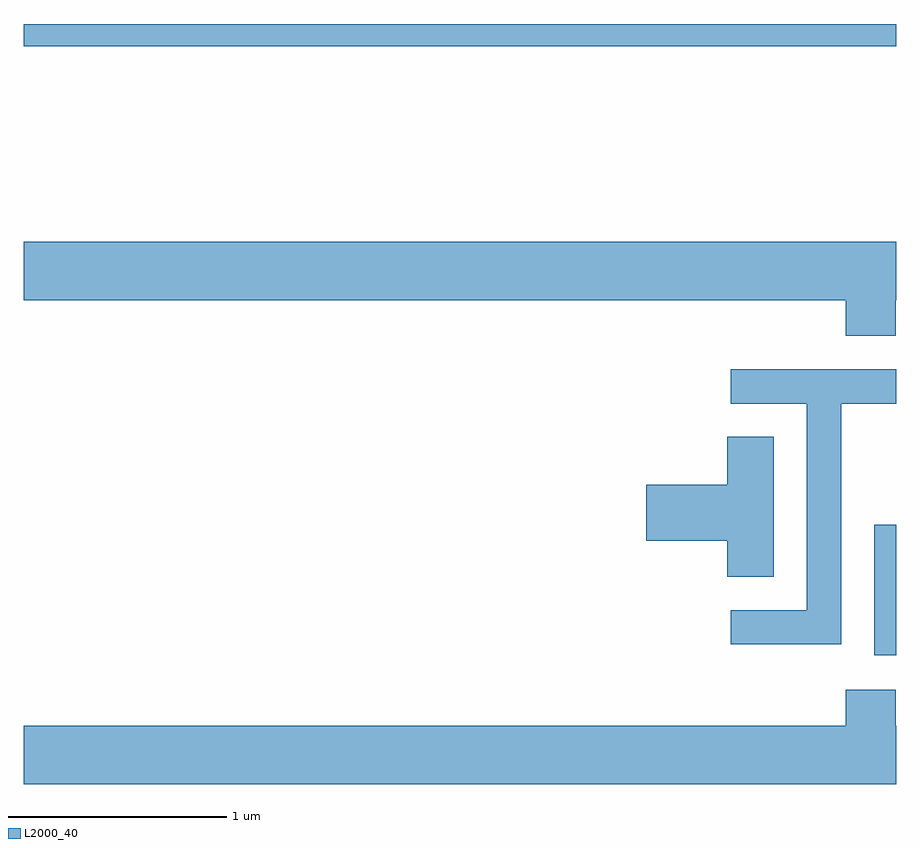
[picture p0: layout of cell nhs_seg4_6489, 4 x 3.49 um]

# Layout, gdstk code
import gdstk
lib = gdstk.Library(unit=1e-6, precision=1e-09)
def R(c, l, rs):  # rectangles x0, y0, x1, y1
    for r in rs: c.add(gdstk.rectangle(r[:2], r[2:], *l))
def P(c, l, *ps):  # polygons
    for p in ps: c.add(gdstk.Polygon(p, *l))
L2000_40 = (2000, 40)

nhs_seg4_6489 = lib.new_cell('nhs_seg4_6489')
R(nhs_seg4_6489, L2000_40, [(379.511,1313.086,379.611,1313.684), (375.611,1315.881,379.611,1315.982)])
P(nhs_seg4_6489, L2000_40, [(379.609,1314.716),(379.611,1314.716),(379.611,1314.984),(375.611,1314.984),(375.611,1314.716),(379.381,1314.716),(379.381,1314.551),(379.609,1314.551)],
  [(379.359,1314.241),(379.611,1314.241),(379.611,1314.399),(378.853,1314.399),(378.853,1314.241),(379.201,1314.241),(379.201,1313.294),(378.853,1313.294),(378.853,1313.136),(379.359,1313.136)],
  [(379.049,1314.089),(378.836,1314.089),(378.836,1313.869),(378.466,1313.869),(378.466,1313.611),(378.836,1313.611),(378.836,1313.446),(379.049,1313.446)],
  [(379.611,1312.764),(379.609,1312.764),(379.609,1312.929),(379.381,1312.929),(379.381,1312.764),(375.611,1312.764),(375.611,1312.496),(379.611,1312.496)])

lib.write_gds('nhs_seg4_6489.gds')
